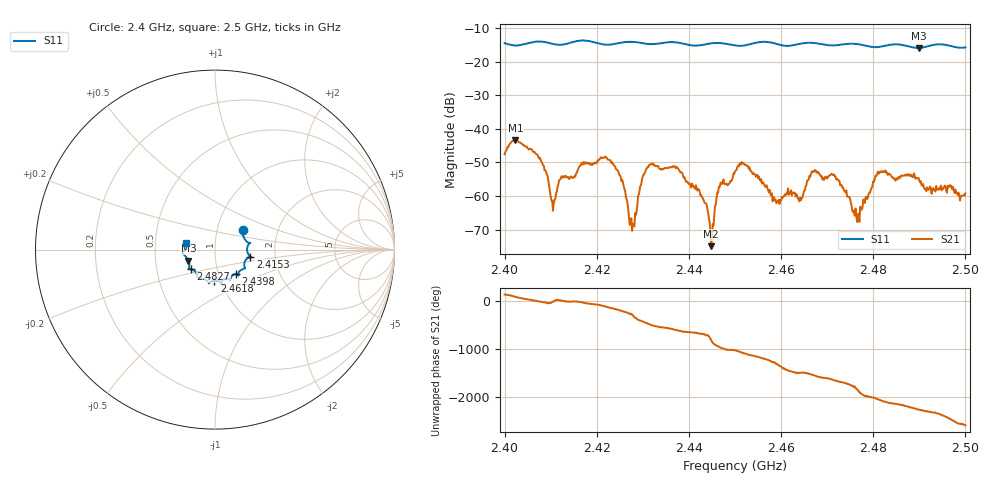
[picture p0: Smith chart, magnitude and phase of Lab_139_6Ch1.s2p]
# Hz S RI R 50
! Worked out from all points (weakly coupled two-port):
!   601 points, 2.4 GHz to 2.5 GHz, reference 50 ohm
!   highest |S21| = -43.41 dB at 2.4023 GHz (marker M1); lowest = -75.0 dB at 2.4448 GHz (marker M2)
!   lowest |S11| = -15.9 dB at 2.4898 GHz (marker M3), VSWR 1.38, Z = 36.9 - j4.62 ohm
!   |S11| at or under -10 dB: start of sweep to end of sweep
!   S12 and S22 are empty: the file has one direction only
!   S11 on the Smith chart (normalised r, x): 2.4 GHz: 1.33, +0.30; 2.4153 GHz: 1.48, -0.12; 2.4398 GHz: 1.21, -0.34; 2.4618 GHz: 0.94, -0.33; 2.4827 GHz: 0.75, -0.17; 2.5 GHz: 0.72, +0.06
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2.4e9  0.1553 0.1071  -0.00234 0.00345  0 0  0 0
2.402333e9  0.1597 0.0688  0.00153 0.00658  0 0  0 0
2.407667e9  0.1962 0.0378  0.00341 -0.0014  0 0  0 0
2.4105e9  0.1827 0.0209  0.000559 -0.000226  0 0  0 0
2.415333e9  0.1965 -0.0393  0.00185 -0.000589  0 0  0 0
2.416667e9  0.2024 -0.0432  0.00252 -0.00175  0 0  0 0
2.423333e9  0.1624 -0.0805  -0.00299 -0.00109  0 0  0 0
2.427667e9  0.1679 -0.1039  9.14e-05 0.000288  0 0  0 0
2.4305e9  0.1476 -0.1126  -0.000191 -0.00224  0 0  0 0
2.433333e9  0.1299 -0.1339  -0.00278 -5.56e-05  0 0  0 0
2.439833e9  0.1155 -0.136  0.00054 0.00146  0 0  0 0
2.444833e9  0.084 -0.1678  -4.46e-05 -0.000173  0 0  0 0
2.446667e9  0.0844 -0.1701  -0.000574 0.00122  0 0  0 0
2.45e9  0.0653 -0.1621  0.00133 0.0019  0 0  0 0
2.461833e9  -0.00332 -0.1726  0.00104 -0.000275  0 0  0 0
2.466667e9  -0.0348 -0.188  -2.77e-05 -0.00233  0 0  0 0
2.471833e9  -0.0683 -0.1615  -0.00158 0.00114  0 0  0 0
2.4765e9  -0.0958 -0.156  0.000345 -0.00022  0 0  0 0
2.482667e9  -0.1351 -0.1088  0.000746 0.00228  0 0  0 0
2.483333e9  -0.1401 -0.1084  0.00144 0.00162  0 0  0 0
2.489833e9  -0.148 -0.061  7.82e-05 -0.00186  0 0  0 0
2.5e9  -0.1593 0.0387  0.000592 -0.00092  0 0  0 0
